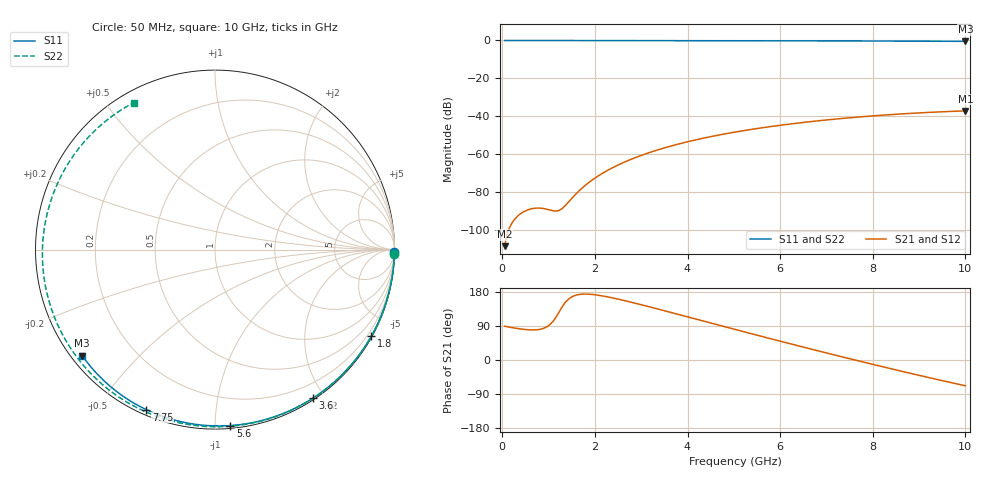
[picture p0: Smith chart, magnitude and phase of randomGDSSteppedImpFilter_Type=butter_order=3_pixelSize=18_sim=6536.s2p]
! freq	dB(S11)	phase(S11)	dB(S12)	phase(S12)
!  dB(S21)	phase(S21)	dB(S22)	phase(S22)
!S-par simulation data
#  GHz  S  DB  R 50
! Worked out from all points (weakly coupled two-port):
!   200 points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, 50 MHz to 10 GHz, reference 50 ohm
!   highest |S21| = -37.06 dB at 10 GHz (marker M1); lowest = -108.3 dB at 50 MHz (marker M2)
!   lowest |S11| = -0.5 dB at 10 GHz (marker M3), VSWR 36.43, Z = 1.54 - j17.5 ohm
!   |S11| at or under -10 dB: nowhere
!   |S22| runs from -0.6 to 0.0 dB; largest |S21 - S12| = 0
!   S11 on the Smith chart (normalised r, x): 50 MHz: open; 1.8 GHz: 0.03, -3.87; 3.6 GHz: 0.02, -1.86; 5.6 GHz: 0.02, -1.09; 7.75 GHz: 0.02, -0.66; 10 GHz: 0.03, -0.35
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0.05  -0.00 -0.8  -108.30 89.1  -108.30 89.1  -0.00 -1.5
0.4  -0.01 -6.5  -91.11 81.8  -91.11 81.8  -0.02 -11.7
0.8  -0.02 -13.0  -88.25 80.7  -88.25 80.7  -0.03 -23.3
1.6  -0.03 -25.8  -80.57 171.4  -80.57 171.4  -0.06 -46.0
1.65  -0.03 -26.6  -79.37 172.7  -79.37 172.7  -0.06 -47.3
1.75  -0.04 -28.2  -77.14 173.9  -77.14 173.9  -0.06 -50.1
1.8  -0.04 -29.0  -76.11 174.0  -76.11 174.0  -0.06 -51.5
2.1  -0.04 -33.7  -70.88 170.4  -70.88 170.4  -0.07 -59.6
2.45  -0.05 -39.1  -66.16 162.0  -66.16 162.0  -0.08 -68.8
2.9  -0.06 -46.0  -61.43 148.9  -61.43 148.9  -0.10 -80.4
3.4  -0.07 -53.6  -57.29 133.2  -57.29 133.2  -0.12 -92.7
3.6  -0.08 -56.5  -55.87 126.8  -55.87 126.8  -0.12 -97.5
4.3  -0.09 -66.8  -51.66 104.1  -51.66 104.1  -0.15 -113.9
5.05  -0.12 -77.4  -48.13 79.9  -48.13 79.9  -0.19 -130.6
5.6  -0.14 -85.0  -46.01 62.3  -46.01 62.3  -0.22 -142.6
6.15  -0.16 -92.5  -44.19 44.9  -44.19 44.9  -0.25 -154.3
6.7  -0.19 -99.7  -42.61 27.9  -42.61 27.9  -0.29 -166.0
7.25  -0.23 -106.9  -41.26 11.0  -41.26 11.0  -0.33 -177.7
7.75  -0.26 -113.3  -40.19 -4.1  -40.19 -4.1  -0.37 171.5
8.35  -0.31 -120.8  -39.10 -21.8  -39.10 -21.8  -0.43 158.2
9.15  -0.38 -130.8  -37.95 -44.7  -37.95 -44.7  -0.50 139.7
10  -0.48 -141.4  -37.06 -68.0  -37.06 -68.0  -0.58 118.9
